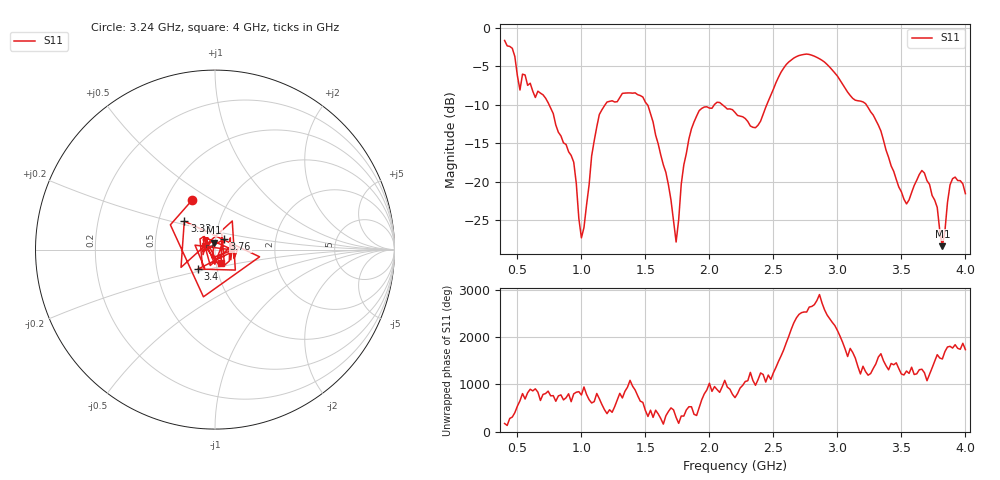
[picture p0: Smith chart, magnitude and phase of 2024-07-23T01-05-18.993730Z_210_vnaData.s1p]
!Created with skrf (http://scikit-rf.org).
# Hz S RI R 50.0
!freq ReS11 ImS11
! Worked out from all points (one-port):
!   181 points, 400 MHz to 4 GHz, reference 50 ohm
!   lowest |S11| = -28.3 dB at 3.82 GHz (marker M1), VSWR 1.08, Z = 49.4 + j3.76 ohm
!   |S11| at or under -10 dB: 747.5 MHz to 1.186 GHz (438.1 MHz wide, 45.3 % of centre); 1.516 GHz to 2.038 GHz (522.8 MHz wide, 29.4 % of centre); 3.226 GHz to end of sweep (the widest 3 of 4)
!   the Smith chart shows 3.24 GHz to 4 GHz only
!   S11 on the Smith chart (normalised r, x): 3.24 GHz: 0.67, +0.41; 3.32 GHz: 0.68, +0.23; 3.4 GHz: 0.81, -0.18; 3.76 GHz: 1.10, +0.13; 4 GHz: 1.06, -0.16
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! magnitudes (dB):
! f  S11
! 400 MHz  -1.7
! 480 MHz  -3.8
! 520 MHz  -8.1
! 700 MHz  -8.7
! 860 MHz  -14.9
! 940 MHz  -17.4
! 1 GHz  -27.3
! 1.14 GHz  -11.3
! 1.3 GHz  -9.1
! 1.52 GHz  -10.1
! 1.66 GHz  -18.8
! 1.74 GHz  -27.8
! 1.76 GHz  -24.9
! 1.8 GHz  -17.8
! 1.92 GHz  -10.8
! 2.2 GHz  -11.0
! 2.36 GHz  -13.0
! 2.66 GHz  -3.9
! 3.1 GHz  -8.8
! 3.24 GHz  -10.4
! 3.32 GHz  -12.6
! 3.4 GHz  -16.8
! 3.56 GHz  -22.3
! 3.66 GHz  -18.5
! 3.76 GHz  -22.4
! 3.82 GHz  -28.3
! 3.9 GHz  -19.6
! 4 GHz  -21.5
